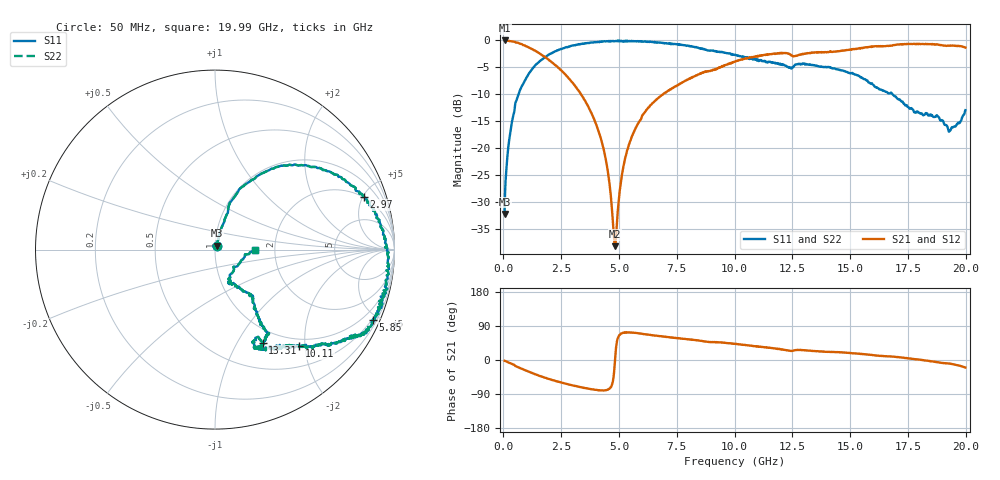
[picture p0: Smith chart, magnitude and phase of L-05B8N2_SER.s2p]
! Data Taken on a HP 8720C VNA using a series-through fixture with TRL* de-embedding
#	mhz	s	ma	r	50
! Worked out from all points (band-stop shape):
!   998 points, 50 MHz to 19.99 GHz, reference 50 ohm
!   highest |S21| = -0.14 dB at 70 MHz (marker M1); lowest = -38.2 dB at 4.83 GHz (marker M2)
!   |S21| within 3 dB of the highest: start of sweep to 1.767 GHz; 10.9 GHz to end of sweep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
!   lowest |S11| = -32.3 dB at 50 MHz (marker M3), VSWR 1.05, Z = 51 + j2.24 ohm
!   |S11| at or under -10 dB: start of sweep to 660.7 MHz; 16.81 GHz to end of sweep
!   |S22| runs from -32.3 to -0.1 dB; largest |S21 - S12| = 0
!   S11 on the Smith chart (normalised r, x): 50 MHz: 1.02, +0.04; 2.97 GHz: 1.94, +5.10; 5.85 GHz: 0.45, -4.67; 10.11 GHz: 0.86, -1.89; 13.31 GHz: 0.81, -1.28; 19.99 GHz: 1.57, -0.01
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50  0.02435 64.6  0.9822 -2.2  0.9822 -2.2  0.02435 64.6
70  0.03822 71.1  0.9845 -2.4  0.9845 -2.4  0.03822 71.1
170  0.08315 74.0  0.9825 -5.0  0.9825 -5.0  0.08315 74.0
310  0.146 72.5  0.97 -8.9  0.97 -8.9  0.146 72.5
750  0.354 68.2  0.9137 -22.0  0.9137 -22.0  0.354 68.2
1710  0.6643 45.0  0.7093 -44.8  0.7093 -44.8  0.6643 45.0
2970  0.8812 19.5  0.4051 -66.7  0.4051 -66.7  0.8812 19.5
3390  0.9142 12.4  0.3034 -72.6  0.3034 -72.6  0.9142 12.4
4330  0.9657 -2.6  0.09816 -80.5  0.09816 -80.5  0.9657 -2.6
4550  0.9709 -5.3  0.05412 -76.4  0.05412 -76.4  0.9709 -5.3
4830  0.9723 -11.0  0.01228 2.1  0.01228 2.1  0.9723 -11.0
5210  0.9684 -17.5  0.07 72.0  0.07 72.0  0.9684 -17.5
5850  0.9617 -24.0  0.1705 70.3  0.1705 70.3  0.9617 -24.0
6710  0.9416 -30.2  0.2905 63.6  0.2905 63.6  0.9416 -30.2
10030  0.727 -48.1  0.6309 42.7  0.6309 42.7  0.727 -48.1
10110  0.7153 -48.9  0.6406 41.8  0.6406 41.8  0.7153 -48.9
12070  0.5831 -67.9  0.7467 27.5  0.7467 27.5  0.5831 -67.9
13310  0.5837 -63.0  0.7574 24.5  0.7574 24.5  0.5837 -63.0
13350  0.5817 -62.7  0.7555 23.8  0.7555 23.8  0.5817 -62.7
16670  0.3189 -51.5  0.8752 9.7  0.8752 9.7  0.3189 -51.5
19310  0.1434 -42.1  0.8821 -9.4  0.8821 -9.4  0.1434 -42.1
19990  0.2226 -0.8  0.8468 -19.8  0.8468 -19.8  0.2226 -0.8
